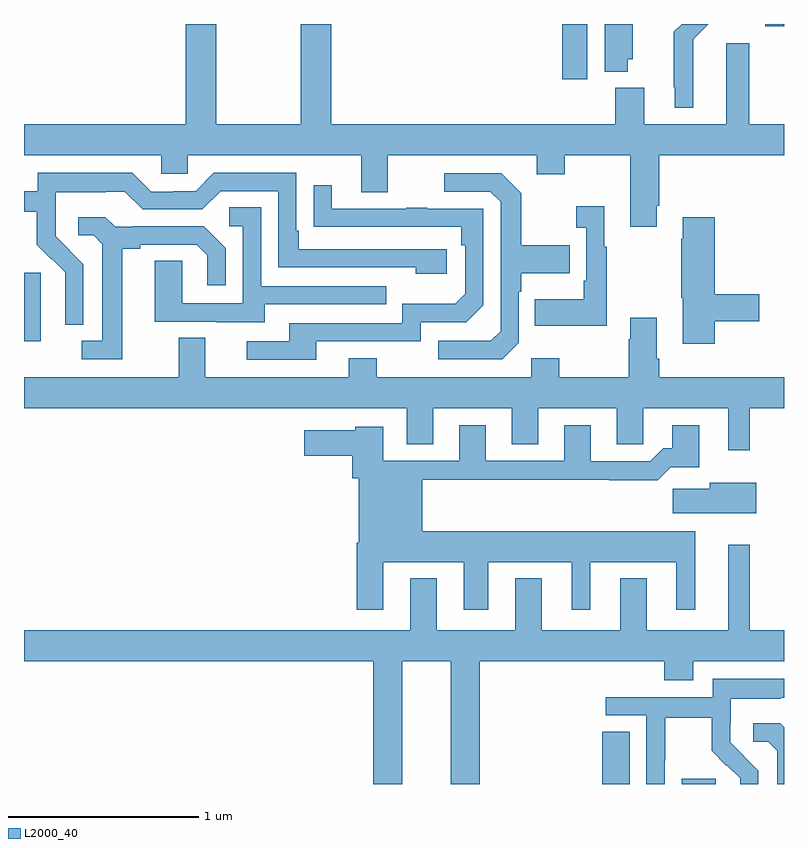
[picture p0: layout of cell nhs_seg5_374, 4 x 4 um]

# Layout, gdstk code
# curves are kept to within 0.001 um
import gdstk
lib = gdstk.Library(unit=1e-6, precision=1e-09)
def R(c, l, rs):  # rectangles x0, y0, x1, y1
    for r in rs: c.add(gdstk.rectangle(r[:2], r[2:], *l))
def P(c, l, *ps):  # polygons
    for p in ps: c.add(gdstk.Polygon(p, *l))
L2000_40 = (2000, 40)

nhs_seg5_374 = lib.new_cell('nhs_seg5_374')
R(nhs_seg5_374, L2000_40, [(138.044,838.799,138.187,839.075), (138.461,838.799,138.64,838.827), (135,841.13,135.088,841.491), (137.834,842.508,137.965,842.799), (138.901,842.788,139,842.799)])
P(nhs_seg5_374, L2000_40, [(138.178,842.613),(138.205,842.613),(138.205,842.799),(138.056,842.799),(138.056,842.549),(138.178,842.549)],
  [(138.331,841.843),(138.344,841.843),(138.344,842.108),(139,842.108),(139,842.272),(138.818,842.272),(138.818,842.698),(138.695,842.698),(138.695,842.272),(138.265,842.272),(138.265,842.464),(138.113,842.464),(138.113,842.272),(136.616,842.272),(136.616,842.799),(136.456,842.799),(136.456,842.272),(136.011,842.272),(136.011,842.799),(135.851,842.799),(135.851,842.272),(135,842.272),(135,842.108),(135.723,842.108),(135.723,842.01),(135.861,842.01),(135.861,842.108),(136.775,842.108),(136.775,841.914),(136.915,841.914),(136.915,842.108),(137.699,842.108),(137.699,842.009),(137.847,842.009),(137.847,842.108),(138.191,842.108),(138.191,841.731),(138.331,841.731)],
  [(138.523,842.72),(138.601,842.799),(138.462,842.799),(138.421,842.758),(138.421,842.467),(138.425,842.467),(138.425,842.357),(138.523,842.357)],
  [(135.312,841.534),(135.166,841.682),(135.166,841.779),(135.168,841.779),(135.168,841.913),(135.431,841.913),(135.431,841.917),(135.531,841.917),(135.624,841.824),(135.939,841.824),(136.035,841.92),(136.338,841.92),(136.338,841.518),(137.063,841.518),(137.063,841.484),(137.224,841.484),(137.224,841.614),(136.447,841.614),(136.447,841.711),(136.434,841.711),(136.434,842.016),(135.999,842.016),(135.903,841.92),(135.785,841.92),(135.785,841.917),(135.669,841.917),(135.569,842.017),(135.072,842.017),(135.072,841.92),(135,841.92),(135,841.812),(135.067,841.812),(135.067,841.637),(135.144,841.56),(135.147,841.563),(135.218,841.493),(135.218,841.37),(135.216,841.37),(135.216,841.216),(135.312,841.216)],
  [(137.604,841.122),(137.604,841.391),(137.617,841.391),(137.617,841.487),(137.873,841.487),(137.873,841.635),(137.617,841.635),(137.617,841.907),(137.511,842.013),(137.211,842.013),(137.211,841.917),(137.454,841.917),(137.508,841.863),(137.508,841.182),(137.457,841.131),(137.181,841.131),(137.181,841.035),(137.517,841.035)],
  [(136.537,841.128),(137.088,841.128),(137.088,841.23),(137.328,841.23),(137.418,841.32),(137.418,841.827),(137.123,841.827),(137.123,841.832),(137.011,841.832),(137.011,841.827),(136.621,841.827),(136.621,841.951),(136.525,841.951),(136.525,841.732),(137.302,841.731),(137.302,841.634),(137.322,841.634),(137.322,841.38),(137.269,841.327),(136.992,841.327),(136.992,841.224),(136.397,841.224),(136.397,841.128),(136.173,841.128),(136.173,841.032),(136.537,841.032)],
  [(138.067,841.627),(138.055,841.627),(138.055,841.84),(137.907,841.84),(137.907,841.727),(137.958,841.727),(137.958,841.447),(137.946,841.447),(137.946,841.351),(137.689,841.351),(137.689,841.211),(138.067,841.211)],
  [(136.267,841.323),(136.907,841.323),(136.907,841.419),(136.248,841.419),(136.248,841.835),(136.08,841.835),(136.08,841.734),(136.152,841.734),(136.152,841.329),(135.834,841.329),(135.834,841.553),(135.689,841.553),(135.689,841.233),(136.013,841.233),(136.013,841.229),(136.267,841.229)],
  [(138.635,841.234),(138.871,841.234),(138.871,841.376),(138.635,841.376),(138.635,841.783),(138.467,841.783),(138.467,841.67),(138.46,841.67),(138.46,841.359),(138.467,841.359),(138.467,841.116),(138.635,841.116)],
  [(135.517,841.616),(135.613,841.616),(135.613,841.638),(135.908,841.638),(135.965,841.581),(135.965,841.425),(136.062,841.425),(136.062,841.618),(135.946,841.734),(135.574,841.734),(135.574,841.731),(135.48,841.731),(135.428,841.783),(135.285,841.783),(135.285,841.686),(135.366,841.686),(135.413,841.639),(135.413,841.131),(135.303,841.131),(135.303,841.035),(135.517,841.035)],
  [(138.821,840.776),(139,840.776),(139,840.94),(138.344,840.94),(138.344,841.036),(138.331,841.036),(138.331,841.252),(138.191,841.252),(138.191,841.139),(138.184,841.139),(138.184,840.94),(137.817,840.94),(137.817,841.039),(137.67,841.039),(137.67,840.94),(136.857,840.94),(136.857,841.039),(136.709,841.039),(136.709,840.94),(135.955,840.94),(135.955,841.148),(135.815,841.148),(135.815,840.94),(135,840.94),(135,840.776),(137.015,840.776),(137.015,840.586),(137.155,840.586),(137.155,840.776),(137.567,840.776),(137.567,840.586),(137.707,840.586),(137.707,840.776),(138.119,840.776),(138.119,840.586),(138.258,840.586),(138.258,840.776),(138.707,840.776),(138.707,840.555),(138.821,840.555)],
  [(136.891,839.966),(137.315,839.966),(137.315,839.715),(137.443,839.715),(137.443,839.966),(137.882,839.966),(137.882,839.715),(137.98,839.715),(137.98,839.966),(138.434,839.966),(138.434,839.715),(138.532,839.715),(138.532,840.13),(137.095,840.13),(137.095,840.4),(138.079,840.4),(138.079,840.398),(138.335,840.398),(138.404,840.467),(138.553,840.467),(138.553,840.688),(138.413,840.688),(138.413,840.565),(138.364,840.565),(138.297,840.498),(137.983,840.498),(137.983,840.688),(137.843,840.688),(137.843,840.501),(137.431,840.501),(137.431,840.688),(137.291,840.688),(137.291,840.501),(136.891,840.501),(136.891,840.679),(136.743,840.679),(136.743,840.661),(136.476,840.661),(136.476,840.527),(136.727,840.527),(136.727,840.408),(136.763,840.408),(136.763,840.07),(136.751,840.07),(136.751,839.715),(136.891,839.715)],
  [(138.853,840.385),(138.608,840.385),(138.608,840.353),(138.414,840.353),(138.414,840.224),(138.853,840.224)],
  [(136.99,839.444),(137.246,839.444),(137.246,838.799),(137.399,838.799),(137.399,839.444),(138.371,839.444),(138.371,839.345),(138.523,839.345),(138.523,839.444),(139,839.444),(139,839.608),(138.821,839.608),(138.821,840.058),(138.707,840.058),(138.707,839.608),(138.277,839.608),(138.277,839.881),(138.137,839.881),(138.137,839.608),(137.725,839.608),(137.725,839.881),(137.585,839.881),(137.585,839.608),(137.173,839.608),(137.173,839.881),(137.033,839.881),(137.033,839.608),(135,839.608),(135,839.444),(136.838,839.444),(136.838,838.799),(136.99,838.799)],
  [(138.372,838.924),(138.375,838.924),(138.375,839.148),(138.619,839.148),(138.619,838.973),(138.696,838.896),(138.699,838.899),(138.77,838.829),(138.77,838.799),(138.864,838.799),(138.864,838.87),(138.718,839.018),(138.718,839.115),(138.72,839.115),(138.72,839.249),(138.983,839.249),(138.983,839.253),(139,839.253),(139,839.353),(138.624,839.353),(138.624,839.256),(138.063,839.256),(138.063,839.16),(138.276,839.16),(138.276,838.799),(138.372,838.799)],
  [(139,839.099),(138.98,839.119),(138.837,839.119),(138.837,839.022),(138.918,839.022),(138.965,838.975),(138.965,838.799),(139,838.799)])

lib.write_gds('nhs_seg5_374.gds')
